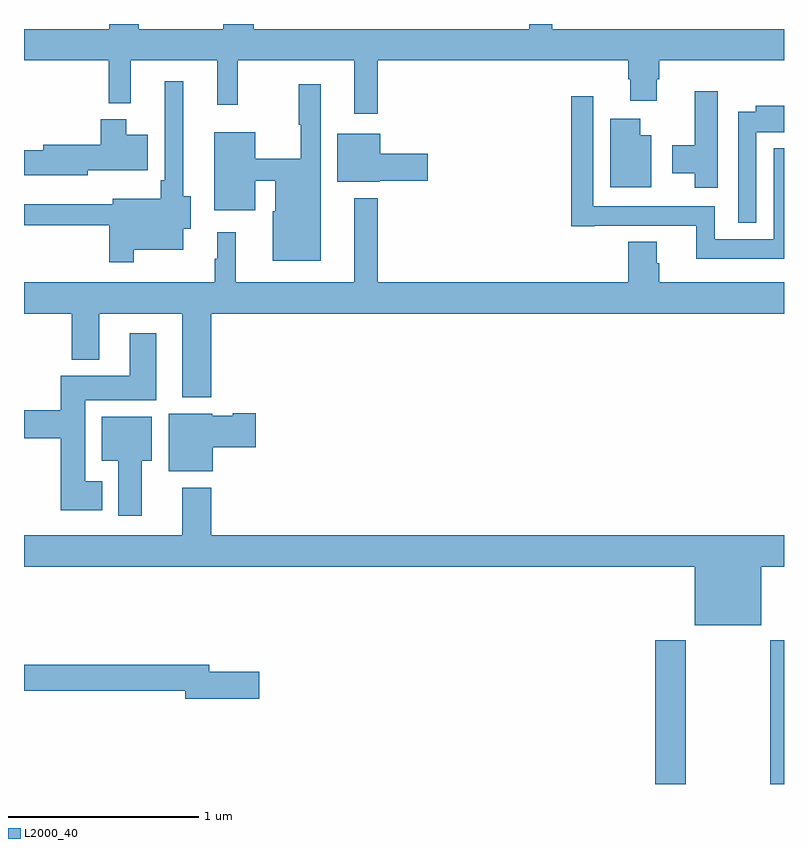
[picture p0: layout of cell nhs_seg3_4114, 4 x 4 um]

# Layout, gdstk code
import gdstk
lib = gdstk.Library(unit=1e-6, precision=1e-09)
def R(c, l, rs):  # rectangles x0, y0, x1, y1
    for r in rs: c.add(gdstk.rectangle(r[:2], r[2:], *l))
def P(c, l, *ps):  # polygons
    for p in ps: c.add(gdstk.Polygon(p, *l))
L2000_40 = (2000, 40)

nhs_seg3_4114 = lib.new_cell('nhs_seg3_4114')
R(nhs_seg3_4114, L2000_40, [(330.323,738.4,330.483,739.156), (330.928,738.4,331,739.156)])
P(nhs_seg3_4114, L2000_40, [(328.861,742.208),(330.179,742.208),(330.179,742.11),(330.191,742.11),(330.191,741.996),(330.331,741.996),(330.331,742.11),(330.344,742.11),(330.344,742.208),(331,742.208),(331,742.372),(329.779,742.372),(329.779,742.4),(329.658,742.4),(329.658,742.372),(328.208,742.372),(328.208,742.4),(328.048,742.4),(328.048,742.372),(327.603,742.372),(327.603,742.4),(327.448,742.4),(327.448,742.372),(327,742.372),(327,742.208),(327.445,742.208),(327.445,741.983),(327.563,741.983),(327.563,742.208),(328.016,742.208),(328.016,741.975),(328.126,741.975),(328.126,742.208),(328.739,742.208),(328.739,741.927),(328.861,741.927)],
  [(327.577,741.212),(327.838,741.212),(327.838,741.323),(327.877,741.323),(327.877,741.494),(327.838,741.494),(327.838,742.099),(327.741,742.099),(327.741,741.577),(327.721,741.577),(327.721,741.481),(327.467,741.481),(327.467,741.451),(327,741.451),(327,741.342),(327.448,741.342),(327.448,741.147),(327.577,741.147)],
  [(328.561,742.084),(328.447,742.084),(328.447,741.87),(328.457,741.87),(328.457,741.692),(328.216,741.692),(328.216,741.829),(328.001,741.829),(328.001,741.419),(328.216,741.419),(328.216,741.575),(328.322,741.575),(328.322,741.414),(328.31,741.414),(328.31,741.155),(328.561,741.155)],
  [(330.652,742.045),(330.53,742.045),(330.53,741.762),(330.413,741.762),(330.413,741.614),(330.53,741.614),(330.53,741.537),(330.652,741.537)],
  [(331,741.745),(330.945,741.745),(330.945,741.268),(330.636,741.268),(330.636,741.442),(329.997,741.442),(329.997,742.021),(329.881,742.021),(329.881,741.336),(330.004,741.336),(330.004,741.338),(330.539,741.338),(330.539,741.164),(331,741.164)],
  [(330.855,741.83),(331,741.83),(331,741.97),(330.851,741.97),(330.851,741.937),(330.759,741.937),(330.759,741.353),(330.855,741.353)],
  [(330.301,741.814),(330.244,741.814),(330.244,741.901),(330.086,741.901),(330.086,741.542),(330.301,741.542)],
  [(327.336,741.629),(327.652,741.629),(327.652,741.817),(327.538,741.817),(327.538,741.898),(327.404,741.898),(327.404,741.765),(327.101,741.765),(327.101,741.735),(327,741.735),(327,741.605),(327.336,741.605)],
  [(328.872,741.575),(329.125,741.575),(329.125,741.717),(328.876,741.717),(328.876,741.823),(328.649,741.823),(328.649,741.569),(328.872,741.569)],
  [(327.986,740.876),(331,740.876),(331,741.04),(330.344,741.04),(330.344,741.141),(330.331,741.141),(330.331,741.253),(330.179,741.253),(330.179,741.04),(328.861,741.04),(328.861,741.484),(328.739,741.484),(328.739,741.04),(328.115,741.04),(328.115,741.304),(328.016,741.304),(328.016,741.164),(328.005,741.164),(328.005,741.04),(327,741.04),(327,740.876),(327.25,740.876),(327.25,740.633),(327.397,740.633),(327.397,740.876),(327.833,740.876),(327.833,740.435),(327.986,740.435)],
  [(327.412,739.993),(327.322,739.993),(327.322,740.42),(327.697,740.42),(327.697,740.773),(327.557,740.773),(327.557,740.548),(327.193,740.548),(327.193,740.366),(327,740.366),(327,740.219),(327.193,740.219),(327.193,739.841),(327.412,739.841)],
  [(327.994,740.173),(328.219,740.173),(328.219,740.351),(328.098,740.351),(328.098,740.338),(327.99,740.338),(327.99,740.35),(327.761,740.35),(327.761,740.045),(327.994,740.045)],
  [(327.619,740.102),(327.673,740.102),(327.673,740.332),(327.41,740.332),(327.41,740.102),(327.497,740.102),(327.497,739.812),(327.619,739.812)],
  [(330.88,739.544),(331,739.544),(331,739.708),(327.986,739.708),(327.986,739.96),(327.833,739.96),(327.833,739.708),(327,739.708),(327,739.544),(330.53,739.544),(330.53,739.235),(330.88,739.235)],
  [(328.237,738.992),(327.976,738.992),(327.976,739.028),(327,739.028),(327,738.892),(327.848,738.892),(327.848,738.85),(328.237,738.85)])

lib.write_gds('nhs_seg3_4114.gds')
